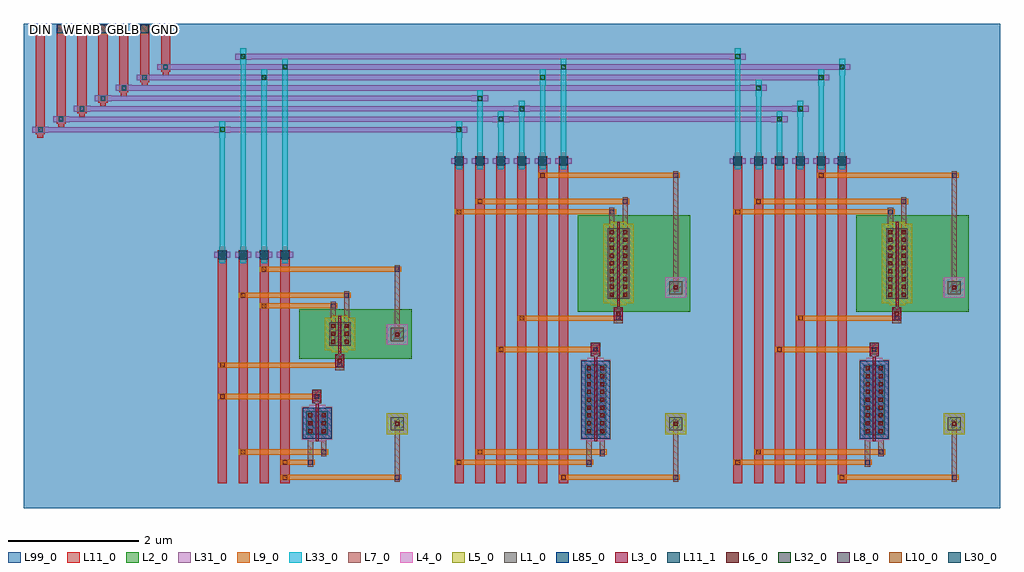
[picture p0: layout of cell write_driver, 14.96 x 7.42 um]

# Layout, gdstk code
import gdstk
lib = gdstk.Library(unit=1e-6, precision=5e-10)
def R(c, l, rs):  # rectangles x0, y0, x1, y1
    for r in rs: c.add(gdstk.rectangle(r[:2], r[2:], *l))
def A(c, l, x, y, w, h, nx, ny, dx, dy):  # array of equal rectangles
    R(c, l, [(x+i*dx, y+j*dy, x+i*dx+w, y+j*dy+h) for i in range(nx) for j in range(ny)])
L1_0 = (1, 0)
L2_0 = (2, 0)
L3_0 = (3, 0)
L4_0 = (4, 0)
L5_0 = (5, 0)
L6_0 = (6, 0)
L7_0 = (7, 0)
L8_0 = (8, 0)
L9_0 = (9, 0)
L10_0 = (10, 0)
L11_0 = (11, 0)
L11_1 = (11, 1)
L30_0 = (30, 0)
L31_0 = (31, 0)
L32_0 = (32, 0)
L33_0 = (33, 0)
L85_0 = (85, 0)
L99_0 = (99, 0)

nmos1v_cdns_794040294420 = lib.new_cell('nmos1v_CDNS_794040294420')
R(nmos1v_cdns_794040294420, L1_0, [(-0.14,0,0,0.36), (0,0,0.045,0.36), (0.045,0,0.185,0.36)])
R(nmos1v_cdns_794040294420, L3_0, [(0,-0.1,0.045,-0.05), (0,-0.05,0.045,0), (0,0,0.045,0.36), (0,0.36,0.045,0.41), (0,0.41,0.045,0.46)])
R(nmos1v_cdns_794040294420, L4_0, [(-0.1,-0.1,0.145,0.46), (-0.21,-0.07,0.255,0.43)])
A(nmos1v_cdns_794040294420, L6_0, -0.11, 0.03, 0.06, 0.06, 1, 3, 0, 0.12)
A(nmos1v_cdns_794040294420, L6_0, 0.095, 0.03, 0.06, 0.06, 1, 3, 0, 0.12)
R(nmos1v_cdns_794040294420, L7_0, [(-0.11,0,-0.05,0.36), (0.095,0,0.155,0.36)])
R(nmos1v_cdns_794040294420, L85_0, [(-0.2,-0.06,0.245,0.42)])

pmos1v_cdns_794040294421 = lib.new_cell('pmos1v_CDNS_794040294421')
R(pmos1v_cdns_794040294421, L1_0, [(-0.14,0,0,0.36), (0,0,0.045,0.36), (0.045,0,0.185,0.36)])
R(pmos1v_cdns_794040294421, L2_0, [(-0.2,-0.06,0.245,0.42)])
R(pmos1v_cdns_794040294421, L3_0, [(0,-0.1,0.045,-0.05), (0,-0.05,0.045,0), (0,0,0.045,0.36), (0,0.36,0.045,0.41), (0,0.41,0.045,0.46)])
R(pmos1v_cdns_794040294421, L5_0, [(-0.1,-0.1,0.145,0.46), (-0.21,-0.07,0.255,0.43)])
A(pmos1v_cdns_794040294421, L6_0, -0.11, 0.03, 0.06, 0.06, 1, 3, 0, 0.12)
A(pmos1v_cdns_794040294421, L6_0, 0.095, 0.03, 0.06, 0.06, 1, 3, 0, 0.12)
R(pmos1v_cdns_794040294421, L7_0, [(-0.11,0,-0.05,0.36), (0.095,0,0.155,0.36)])

inv = lib.new_cell('inv')
R(inv, L1_0, [(2.83,0.84,3.03,1.04), (2.83,2.21,3.03,2.41)])
R(inv, L2_0, [(1.43,1.94,3.15,2.7)])
R(inv, L3_0, [(1.68,1.18,1.725,1.46), (1.63,1.26,1.77,1.46), (1.98,1.81,2.12,2.01), (2.03,1.81,2.075,2.09)])
R(inv, L4_0, [(2.77,2.15,3.09,2.47)])
R(inv, L5_0, [(2.77,0.78,3.09,1.1)])
R(inv, L6_0, [(2.9,0.91,2.96,0.97), (1.67,1.33,1.73,1.39), (2.02,1.88,2.08,1.94), (2.9,2.28,2.96,2.34)])
R(inv, L7_0, [(2.89,0.055,2.97,0.185), (2.89,0.08,2.97,0.98), (1.56,0.285,1.64,0.415), (1.56,0.31,1.64,0.99), (1.765,0.445,1.845,0.575), (1.765,0.47,1.845,0.99), (2.89,0.875,2.97,1.005), (1.63,1.285,1.77,1.435), (1.63,1.285,1.77,1.435), (1.63,1.29,1.77,1.43), (1.98,1.765,2.12,1.915), (1.98,1.77,2.12,1.98), (1.98,1.835,2.12,1.985), (2.89,2.245,2.97,2.375), (2.89,2.27,2.97,3.35), (1.91,2.28,1.99,2.79), (2.115,2.28,2.195,2.95), (1.91,2.685,1.99,2.815), (2.115,2.845,2.195,2.975), (2.89,3.245,2.97,3.375)])
R(inv, L8_0, [(2.895,0.085,2.965,0.155), (1.565,0.315,1.635,0.385), (1.77,0.475,1.84,0.545), (1.665,1.325,1.735,1.395), (2.015,1.805,2.085,1.875), (1.915,2.715,1.985,2.785), (2.12,2.875,2.19,2.945), (2.895,3.275,2.965,3.345)])
R(inv, L9_0, [(1.145,0.08,1.275,0.16), (1.17,0.08,2.97,0.16), (2.865,0.08,2.995,0.16), (1.145,0.31,1.275,0.39), (1.17,0.31,1.64,0.39), (1.535,0.31,1.665,0.39), (0.505,0.47,0.635,0.55), (0.53,0.47,1.845,0.55), (1.74,0.47,1.87,0.55), (0.185,1.32,0.315,1.4), (0.21,1.32,1.74,1.4), (1.635,1.32,1.765,1.4), (0.185,1.8,0.315,1.88), (0.21,1.8,2.09,1.88), (1.985,1.8,2.115,1.88), (0.825,2.71,0.955,2.79), (0.85,2.71,1.99,2.79), (1.885,2.71,2.015,2.79), (0.505,2.87,0.635,2.95), (0.53,2.87,2.195,2.95), (2.09,2.87,2.22,2.95), (0.825,3.27,0.955,3.35), (0.85,3.27,2.97,3.35), (2.865,3.27,2.995,3.35)])
R(inv, L10_0, [(1.175,0.085,1.245,0.155), (1.175,0.315,1.245,0.385), (0.535,0.475,0.605,0.545), (0.215,1.325,0.285,1.395), (0.215,1.805,0.285,1.875), (0.855,2.715,0.925,2.785), (0.535,2.875,0.605,2.945), (0.855,3.275,0.925,3.345)])
A(inv, L11_0, 0.18, 0.03, 0.14, 3.57, 4, 1, 0.32, 0)
R(inv, L11_0, [(1.17,0.055,1.25,0.185), (1.17,0.285,1.25,0.415), (0.53,0.445,0.61,0.575), (0.21,1.295,0.29,1.425), (0.21,1.775,0.29,1.905), (0.85,2.685,0.93,2.815), (0.53,2.845,0.61,2.975), (0.85,3.245,0.93,3.375)])
A(inv, L11_1, 0.185, 3.465, 0.13, 0.13, 4, 1, 0.32, 0)
R(inv, L99_0, [(0,0,3.23,3.61)])
inv.add(gdstk.Reference(nmos1v_cdns_794040294420, (1.68,0.77)))
inv.add(gdstk.Reference(pmos1v_cdns_794040294421, (2.03,2.14)))
inv.add(gdstk.Label('GND', (1.21,3.53), layer=11, texttype=3))
inv.add(gdstk.Label('VDD', (0.89,3.53), layer=11, texttype=3))
inv.add(gdstk.Label('OUT', (0.57,3.53), layer=11, texttype=3))
inv.add(gdstk.Label('IN', (0.25,3.53), layer=11, texttype=3))

nmos1v_cdns_794040294422 = lib.new_cell('nmos1v_CDNS_794040294422')
R(nmos1v_cdns_794040294422, L1_0, [(-0.14,0,0,1.08), (0,0,0.045,1.08), (0.045,0,0.185,1.08)])
R(nmos1v_cdns_794040294422, L3_0, [(0,-0.1,0.045,-0.05), (0,-0.05,0.045,0), (0,0,0.045,1.08), (0,1.08,0.045,1.13), (0,1.13,0.045,1.18)])
R(nmos1v_cdns_794040294422, L4_0, [(-0.1,-0.1,0.145,1.18), (-0.21,-0.07,0.255,1.15)])
A(nmos1v_cdns_794040294422, L6_0, -0.11, 0.03, 0.06, 0.06, 1, 9, 0, 0.12)
A(nmos1v_cdns_794040294422, L6_0, 0.095, 0.03, 0.06, 0.06, 1, 9, 0, 0.12)
R(nmos1v_cdns_794040294422, L7_0, [(-0.11,0,-0.05,1.08), (0.095,0,0.155,1.08)])
R(nmos1v_cdns_794040294422, L85_0, [(-0.2,-0.06,0.245,1.14)])

pmos1v_cdns_794040294423 = lib.new_cell('pmos1v_CDNS_794040294423')
R(pmos1v_cdns_794040294423, L1_0, [(-0.14,0,0,1.08), (0,0,0.045,1.08), (0.045,0,0.185,1.08)])
R(pmos1v_cdns_794040294423, L2_0, [(-0.2,-0.06,0.245,1.14)])
R(pmos1v_cdns_794040294423, L3_0, [(0,-0.1,0.045,-0.05), (0,-0.05,0.045,0), (0,0,0.045,1.08), (0,1.08,0.045,1.13), (0,1.13,0.045,1.18)])
R(pmos1v_cdns_794040294423, L5_0, [(-0.1,-0.1,0.145,1.18), (-0.21,-0.07,0.255,1.15)])
A(pmos1v_cdns_794040294423, L6_0, -0.11, 0.03, 0.06, 0.06, 1, 9, 0, 0.12)
A(pmos1v_cdns_794040294423, L6_0, 0.095, 0.03, 0.06, 0.06, 1, 9, 0, 0.12)
R(pmos1v_cdns_794040294423, L7_0, [(-0.11,0,-0.05,1.08), (0.095,0,0.155,1.08)])

c_tg = lib.new_cell('tg')
R(c_tg, L1_0, [(3.47,0.84,3.67,1.04), (3.47,2.93,3.67,3.13)])
R(c_tg, L2_0, [(2.07,2.66,3.79,4.14)])
R(c_tg, L3_0, [(2.32,1.9,2.365,2.18), (2.27,1.98,2.41,2.18), (2.62,2.53,2.76,2.73), (2.67,2.53,2.715,2.81)])
R(c_tg, L4_0, [(3.41,2.87,3.73,3.19)])
R(c_tg, L5_0, [(3.41,0.78,3.73,1.1)])
R(c_tg, L6_0, [(3.54,0.91,3.6,0.97), (2.31,2.05,2.37,2.11), (2.66,2.6,2.72,2.66), (3.54,3,3.6,3.06)])
R(c_tg, L7_0, [(3.53,0.055,3.61,0.185), (3.53,0.08,3.61,0.98), (2.2,0.285,2.28,0.415), (2.2,0.31,2.28,1.35), (2.405,0.445,2.485,0.575), (2.405,0.47,2.485,1.35), (3.53,0.875,3.61,1.005), (2.27,2.005,2.41,2.155), (2.27,2.005,2.41,2.155), (2.27,2.01,2.41,2.15), (2.62,2.485,2.76,2.635), (2.62,2.49,2.76,2.7), (2.62,2.555,2.76,2.705), (3.53,2.965,3.61,3.095), (3.53,2.99,3.61,4.79), (2.55,3.36,2.63,4.23), (2.755,3.36,2.835,4.39), (2.55,4.125,2.63,4.255), (2.755,4.285,2.835,4.415), (3.53,4.685,3.61,4.815)])
R(c_tg, L8_0, [(3.535,0.085,3.605,0.155), (2.205,0.315,2.275,0.385), (2.41,0.475,2.48,0.545), (2.305,2.045,2.375,2.115), (2.655,2.525,2.725,2.595), (2.555,4.155,2.625,4.225), (2.76,4.315,2.83,4.385), (3.535,4.715,3.605,4.785)])
R(c_tg, L9_0, [(1.785,0.08,1.915,0.16), (1.81,0.08,3.61,0.16), (3.505,0.08,3.635,0.16), (0.185,0.31,0.315,0.39), (0.21,0.31,2.28,0.39), (2.175,0.31,2.305,0.39), (0.505,0.47,0.635,0.55), (0.53,0.47,2.485,0.55), (2.38,0.47,2.51,0.55), (0.825,2.04,0.955,2.12), (0.85,2.04,2.38,2.12), (2.275,2.04,2.405,2.12), (1.145,2.52,1.275,2.6), (1.17,2.52,2.73,2.6), (2.625,2.52,2.755,2.6), (0.185,4.15,0.315,4.23), (0.21,4.15,2.63,4.23), (2.525,4.15,2.655,4.23), (0.505,4.31,0.635,4.39), (0.53,4.31,2.835,4.39), (2.73,4.31,2.86,4.39), (1.465,4.71,1.595,4.79), (1.49,4.71,3.61,4.79), (3.505,4.71,3.635,4.79)])
R(c_tg, L10_0, [(1.815,0.085,1.885,0.155), (0.215,0.315,0.285,0.385), (0.535,0.475,0.605,0.545), (0.855,2.045,0.925,2.115), (1.175,2.525,1.245,2.595), (0.215,4.155,0.285,4.225), (0.535,4.315,0.605,4.385), (1.495,4.715,1.565,4.785)])
A(c_tg, L11_0, 0.18, 0.03, 0.14, 5.01, 6, 1, 0.32, 0)
R(c_tg, L11_0, [(1.81,0.055,1.89,0.185), (0.21,0.285,0.29,0.415), (0.53,0.445,0.61,0.575), (0.85,2.015,0.93,2.145), (1.17,2.495,1.25,2.625), (0.21,4.125,0.29,4.255), (0.53,4.285,0.61,4.415), (1.49,4.685,1.57,4.815)])
A(c_tg, L11_1, 0.185, 4.905, 0.13, 0.13, 6, 1, 0.32, 0)
R(c_tg, L99_0, [(0,0,3.87,5.05)])
c_tg.add(gdstk.Reference(nmos1v_cdns_794040294422, (2.32,0.77)))
c_tg.add(gdstk.Reference(pmos1v_cdns_794040294423, (2.67,2.86)))
c_tg.add(gdstk.Label('GND', (1.85,4.97), layer=11, texttype=3))
c_tg.add(gdstk.Label('VDD', (1.53,4.97), layer=11, texttype=3))
c_tg.add(gdstk.Label('ENB', (1.21,4.97), layer=11, texttype=3))
c_tg.add(gdstk.Label('EN', (0.89,4.97), layer=11, texttype=3))
c_tg.add(gdstk.Label('B', (0.57,4.97), layer=11, texttype=3))
c_tg.add(gdstk.Label('A', (0.25,4.97), layer=11, texttype=3))

write_driver = lib.new_cell('write_driver')
A(write_driver, L11_0, 2.995, 3.755, 0.09, 0.25, 4, 1, 0.32, 0)
A(write_driver, L11_0, 6.625, 5.195, 0.09, 0.25, 6, 1, 0.32, 0)
A(write_driver, L11_0, 10.895, 5.195, 0.09, 0.25, 6, 1, 0.32, 0)
R(write_driver, L11_0, [(0.205,5.675,0.295,5.925), (0.18,5.73,0.32,7.41), (0.525,5.835,0.615,6.085), (0.5,5.89,0.64,7.41), (0.845,5.995,0.935,6.245), (0.82,6.05,0.96,7.41), (1.165,6.155,1.255,6.405), (1.14,6.21,1.28,7.41), (1.485,6.315,1.575,6.565), (1.46,6.37,1.6,7.41), (1.805,6.475,1.895,6.725), (1.78,6.53,1.92,7.41), (2.125,6.635,2.215,6.885), (2.1,6.69,2.24,7.41)])
A(write_driver, L11_1, 0.185, 7.275, 0.13, 0.13, 7, 1, 0.32, 0)
A(write_driver, L30_0, 3.005, 3.845, 0.07, 0.07, 4, 1, 0.32, 0)
A(write_driver, L30_0, 6.635, 5.285, 0.07, 0.07, 6, 1, 0.32, 0)
A(write_driver, L30_0, 10.905, 5.285, 0.07, 0.07, 6, 1, 0.32, 0)
R(write_driver, L30_0, [(0.215,5.765,0.285,5.835), (0.535,5.925,0.605,5.995), (0.855,6.085,0.925,6.155), (1.175,6.245,1.245,6.315), (1.495,6.405,1.565,6.475), (1.815,6.565,1.885,6.635), (2.135,6.725,2.205,6.795)])
A(write_driver, L31_0, 3.555, 6.555, 0.25, 0.09, 3, 1, 4.27, 0)
A(write_driver, L31_0, 3.875, 6.715, 0.25, 0.09, 3, 1, 4.27, 0)
R(write_driver, L31_0, [(2.915,3.835,3.165,3.925), (2.915,3.835,3.165,3.925), (3.235,3.835,3.485,3.925), (3.235,3.835,3.485,3.925), (3.555,3.835,3.805,3.925), (3.555,3.835,3.805,3.925), (3.875,3.835,4.125,3.925), (3.875,3.835,4.125,3.925), (6.545,5.275,6.795,5.365), (6.545,5.275,6.795,5.365), (6.865,5.275,7.115,5.365), (6.865,5.275,7.115,5.365), (7.185,5.275,7.435,5.365), (7.185,5.275,7.435,5.365), (7.505,5.275,7.755,5.365), (7.505,5.275,7.755,5.365), (7.825,5.275,8.075,5.365), (7.825,5.275,8.075,5.365), (8.145,5.275,8.395,5.365), (8.145,5.275,8.395,5.365), (10.815,5.275,11.065,5.365), (10.815,5.275,11.065,5.365), (11.135,5.275,11.385,5.365), (11.135,5.275,11.385,5.365), (11.455,5.275,11.705,5.365), (11.455,5.275,11.705,5.365), (11.775,5.275,12.025,5.365), (11.775,5.275,12.025,5.365), (12.095,5.275,12.345,5.365), (12.095,5.275,12.345,5.365), (12.415,5.275,12.665,5.365), (12.415,5.275,12.665,5.365), (0.125,5.755,0.375,5.845), (2.915,5.755,3.165,5.845), (6.545,5.755,6.795,5.845), (0.21,5.76,6.71,5.84), (0.445,5.915,0.695,6.005), (7.185,5.915,7.435,6.005), (11.455,5.915,11.705,6.005), (0.53,5.92,11.62,6), (0.765,6.075,1.015,6.165), (7.505,6.075,7.755,6.165), (11.775,6.075,12.025,6.165), (0.85,6.08,11.94,6.16), (1.085,6.235,1.335,6.325), (6.865,6.235,7.115,6.325), (1.17,6.24,7.03,6.32), (1.405,6.395,1.655,6.485), (11.135,6.395,11.385,6.485), (1.49,6.4,11.3,6.48), (1.725,6.555,1.975,6.645), (1.81,6.56,12.26,6.64), (2.045,6.715,2.295,6.805), (2.13,6.72,12.58,6.8), (3.235,6.875,3.485,6.965), (10.815,6.875,11.065,6.965), (3.32,6.88,10.98,6.96)])
A(write_driver, L32_0, 3.005, 3.845, 0.07, 0.07, 4, 1, 0.32, 0)
A(write_driver, L32_0, 6.635, 5.285, 0.07, 0.07, 6, 1, 0.32, 0)
A(write_driver, L32_0, 10.905, 5.285, 0.07, 0.07, 6, 1, 0.32, 0)
A(write_driver, L32_0, 3.645, 6.565, 0.07, 0.07, 3, 1, 4.27, 0)
A(write_driver, L32_0, 3.965, 6.725, 0.07, 0.07, 3, 1, 4.27, 0)
R(write_driver, L32_0, [(3.005,5.765,3.075,5.835), (6.635,5.765,6.705,5.835), (7.275,5.925,7.345,5.995), (11.545,5.925,11.615,5.995), (7.595,6.085,7.665,6.155), (11.865,6.085,11.935,6.155), (6.955,6.245,7.025,6.315), (11.225,6.405,11.295,6.475), (3.325,6.885,3.395,6.955), (10.905,6.885,10.975,6.955)])
A(write_driver, L33_0, 2.995, 3.755, 0.09, 0.25, 4, 1, 0.32, 0)
A(write_driver, L33_0, 6.625, 5.195, 0.09, 0.25, 6, 1, 0.32, 0)
A(write_driver, L33_0, 10.895, 5.195, 0.09, 0.25, 6, 1, 0.32, 0)
A(write_driver, L33_0, 3.635, 6.475, 0.09, 0.25, 3, 1, 4.27, 0)
A(write_driver, L33_0, 3.955, 6.635, 0.09, 0.25, 3, 1, 4.27, 0)
R(write_driver, L33_0, [(3,3.84,3.08,5.84), (3.32,3.84,3.4,6.96), (3.64,3.84,3.72,6.64), (3.96,3.84,4.04,6.8), (6.63,5.28,6.71,5.84), (6.95,5.28,7.03,6.32), (7.27,5.28,7.35,6), (7.59,5.28,7.67,6.16), (7.91,5.28,7.99,6.64), (8.23,5.28,8.31,6.8), (10.9,5.28,10.98,6.96), (11.22,5.28,11.3,6.48), (11.54,5.28,11.62,6), (11.86,5.28,11.94,6.16), (12.18,5.28,12.26,6.64), (12.5,5.28,12.58,6.8), (2.995,5.675,3.085,5.925), (6.625,5.675,6.715,5.925), (7.265,5.835,7.355,6.085), (11.535,5.835,11.625,6.085), (7.585,5.995,7.675,6.245), (11.855,5.995,11.945,6.245), (6.945,6.155,7.035,6.405), (11.215,6.315,11.305,6.565), (3.315,6.795,3.405,7.045), (10.895,6.795,10.985,7.045)])
R(write_driver, L99_0, [(0,0,14.96,7.42)])
write_driver.add(gdstk.Reference(inv, (2.79,0.35)))
write_driver.add(gdstk.Reference(c_tg, (10.69,0.35)))
write_driver.add(gdstk.Reference(c_tg, (6.42,0.35)))
write_driver.add(gdstk.Label('GND', (2.17,7.34), layer=11, texttype=3))
write_driver.add(gdstk.Label('VDD', (1.85,7.34), layer=11, texttype=3))
write_driver.add(gdstk.Label('GBLB', (1.53,7.34), layer=11, texttype=3))
write_driver.add(gdstk.Label('GBL', (1.21,7.34), layer=11, texttype=3))
write_driver.add(gdstk.Label('WENB', (0.89,7.34), layer=11, texttype=3))
write_driver.add(gdstk.Label('WEN', (0.57,7.34), layer=11, texttype=3))
write_driver.add(gdstk.Label('DIN', (0.25,7.34), layer=11, texttype=3))

lib.write_gds('write_driver.gds')
